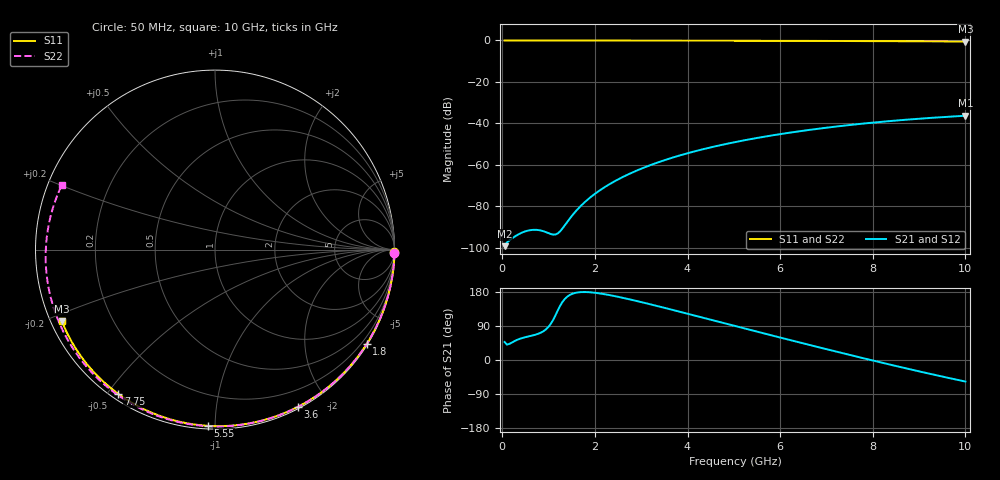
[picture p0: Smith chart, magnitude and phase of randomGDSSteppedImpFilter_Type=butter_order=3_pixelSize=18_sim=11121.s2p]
! freq	dB(S11)	phase(S11)	dB(S12)	phase(S12)
!  dB(S21)	phase(S21)	dB(S22)	phase(S22)
!S-par simulation data
#  GHz  S  DB  R 50
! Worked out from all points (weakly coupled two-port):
!   200 points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, 50 MHz to 10 GHz, reference 50 ohm
!   highest |S21| = -36.33 dB at 10 GHz (marker M1); lowest = -99.3 dB at 50 MHz (marker M2)
!   lowest |S11| = -0.5 dB at 10 GHz (marker M3), VSWR 33.47, Z = 1.57 - j11.1 ohm
!   |S11| at or under -10 dB: nowhere
!   |S22| runs from -0.7 to 0.0 dB; largest |S21 - S12| = 0
!   S11 on the Smith chart (normalised r, x): 50 MHz: open; 1.8 GHz: 0.03, -3.49; 3.6 GHz: 0.02, -1.66; 5.55 GHz: 0.02, -0.96; 7.75 GHz: 0.02, -0.53; 10 GHz: 0.03, -0.22
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0.05  -0.00 -0.9  -99.27 47.5  -99.27 47.5  -0.00 -1.1
0.8  -0.02 -14.4  -91.56 70.4  -91.56 70.4  -0.02 -17.3
1.65  -0.04 -29.3  -80.88 178.6  -80.88 178.6  -0.04 -35.3
1.7  -0.04 -30.2  -79.74 179.2  -79.74 179.2  -0.05 -36.4
1.75  -0.04 -31.1  -78.66 179.4  -78.66 179.4  -0.05 -37.4
1.8  -0.04 -31.9  -77.64 179.3  -77.64 179.3  -0.05 -38.5
2.1  -0.05 -37.1  -72.41 175.8  -72.41 175.8  -0.06 -44.7
2.5  -0.06 -43.9  -67.06 166.8  -67.06 166.8  -0.07 -52.9
2.9  -0.07 -50.7  -62.82 155.8  -62.82 155.8  -0.08 -61.0
3.4  -0.08 -58.9  -58.55 140.8  -58.55 140.8  -0.09 -70.9
3.6  -0.08 -62.2  -57.07 134.6  -57.07 134.6  -0.10 -74.9
4.3  -0.10 -73.3  -52.67 112.6  -52.67 112.6  -0.13 -88.4
5.05  -0.13 -84.9  -48.94 88.9  -48.94 88.9  -0.16 -102.5
5.55  -0.15 -92.4  -46.86 73.3  -46.86 73.3  -0.18 -111.8
6.1  -0.18 -100.5  -44.86 56.1  -44.86 56.1  -0.22 -122.0
6.7  -0.21 -109.1  -42.95 37.7  -42.95 37.7  -0.26 -133.2
7.75  -0.29 -123.8  -40.21 6.0  -40.21 6.0  -0.36 -153.2
8.35  -0.34 -132.1  -38.94 -11.5  -38.94 -11.5  -0.42 -165.2
8.8  -0.38 -138.3  -38.11 -24.4  -38.11 -24.4  -0.48 -174.6
9.2  -0.42 -143.8  -37.45 -35.5  -37.45 -35.5  -0.53 176.5
9.6  -0.47 -149.4  -36.86 -46.4  -36.86 -46.4  -0.60 167.1
10  -0.52 -154.9  -36.33 -56.8  -36.33 -56.8  -0.67 157.1
